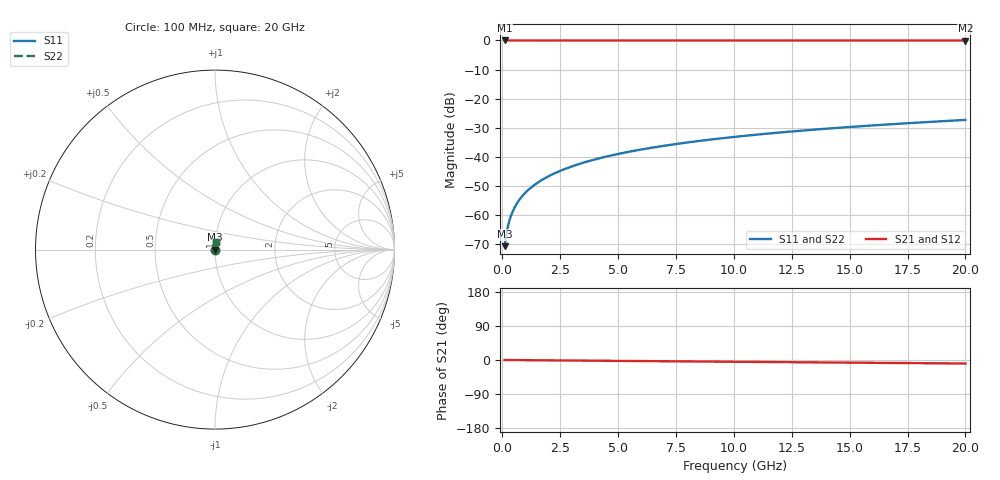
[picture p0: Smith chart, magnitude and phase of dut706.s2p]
! Touchstone file exported from HFSS 2026.1.0
!  File:  C:/ffzhzh/LocalFiles/Ansys_Project_Files/temp_train_TSV_706_1783181889_51560.aedt
!  Generated:  12:19:44 AM Jul  5, 2026
!  Design:  TSV
!  Project:  temp_train_TSV_706_1783181889_51560
! Variables:
!  h_bsmrdl = 2um
!  h_ox = 20um
!  h_rdl = 5um
!  h_sub = 86.39um
!  h_tmrdl = 5um
!  h_tsv = 86.39um
!  h_via = 3um
!  l_bsmrdl = 300um
!  l_sub = 419.82um
!  l_tmrdl = 200um
!  m_sub = 200um
!  pitch = 55.79um
!  r_tsv = 9.91um
!  s_tmrdl = 10um
!  w_bsmrdl = 18um
!  w_sub = 500um
!  w_tmrdl = 12um
!  x_tsv_center1 = 206um
!  x_tsv_center2 = 524um
!  x_tsv_center3 = 736um
!  x_tsv_center4 = 1054um
!  x_tsv_center5 = 1266um
!  x_tsv_center6 = 1584um
# GHz S MA R 50.000000
! Terminal data exported
! Port[1] = TSV1_1_T1
! Port[2] = TSV1_1_T2
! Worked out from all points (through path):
!   200 points, 100 MHz to 20 GHz, reference 50 ohm
!   highest |S21| = 0.00 dB at 100 MHz (marker M1); lowest = 0.0 dB at 20 GHz (marker M2)
!   group delay of S21, straight-line fit = 1.28 ps
!   lowest |S11| = -70.7 dB at 100 MHz (marker M3), VSWR 1.00, Z = 50 + j0.0259 ohm
!   |S11| at or under -10 dB: start of sweep to end of sweep
!   |S22| runs from -70.7 to -27.3 dB; largest |S21 - S12| = 4.3e-15
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0.1  0.0002919 62.7  0.9999 -0.0  0.9999 -0.0  0.0002919 62.7
! Gamma 0 0 0 0
! Port Impedance 50 0 50 0
0.2  0.0005365 74.3  0.9999 -0.1  0.9999 -0.1  0.0005365 74.3
0.3  0.0007862 78.0  0.9998 -0.1  0.9998 -0.1  0.0007862 78.0
0.4  0.001033 79.6  0.9998 -0.2  0.9998 -0.2  0.001033 79.6
0.5  0.001276 80.5  0.9998 -0.2  0.9998 -0.2  0.001276 80.5
0.6  0.001513 81.0  0.9998 -0.3  0.9998 -0.3  0.001513 81.0
0.7  0.001747 81.4  0.9997 -0.3  0.9997 -0.3  0.001747 81.4
0.8  0.001977 81.7  0.9997 -0.4  0.9997 -0.4  0.001977 81.7
1  0.00243 82.2  0.9997 -0.5  0.9997 -0.5  0.00243 82.2
1.4  0.003319 82.9  0.9996 -0.7  0.9996 -0.7  0.003319 82.9
1.7  0.00398 83.4  0.9996 -0.8  0.9996 -0.8  0.00398 83.4
2  0.004641 83.7  0.9996 -0.9  0.9996 -0.9  0.004641 83.7
2.7  0.006181 84.2  0.9995 -1.3  0.9995 -1.3  0.006181 84.2
3.5  0.007937 84.4  0.9994 -1.6  0.9994 -1.6  0.007937 84.4
4.2  0.009467 84.4  0.9993 -2.0  0.9993 -2.0  0.009467 84.4
5  0.01121 84.3  0.9993 -2.3  0.9993 -2.3  0.01121 84.3
6.8  0.0151 83.9  0.9991 -3.2  0.9991 -3.2  0.0151 83.9
8.3  0.01833 83.4  0.999 -3.9  0.999 -3.9  0.01833 83.4
10.1  0.02218 82.9  0.9988 -4.7  0.9988 -4.7  0.02218 82.9
13.4  0.0292 81.7  0.9985 -6.2  0.9985 -6.2  0.0292 81.7
16.7  0.03618 80.3  0.9981 -7.7  0.9981 -7.7  0.03618 80.3
20  0.04308 79.0  0.9977 -9.3  0.9977 -9.3  0.04308 79.0
